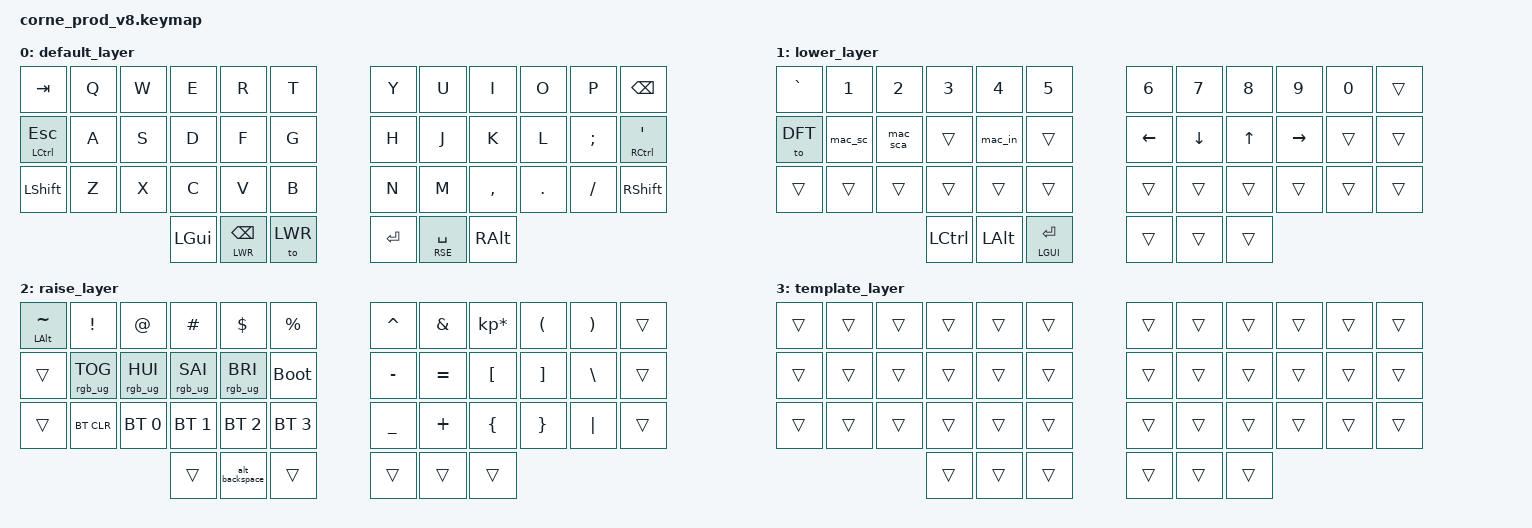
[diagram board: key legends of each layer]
/*
 * Copyright (c) 2020 The ZMK Contributors
 *
 * SPDX-License-Identifier: MIT
 *
 * Reference: https://zmk.dev/docs/keymaps/behaviors/key-press
 *
 */

#include <behaviors.dtsi>
#include <dt-bindings/zmk/keys.h>
#include <dt-bindings/zmk/bt.h>
#include <dt-bindings/zmk/rgb.h>

&led_strip {
    chain-length = <27>;
};

// Define the custom macro
// reference: https://zmk.dev/docs/keymaps/behaviors/macros
/ {
    macros {
        // switch input method
        macos_input: macos_input {
            compatible = "zmk,behavior-macro";
            #binding-cells = <0>;
            bindings
                = <&macro_press &kp LCTRL>
                , <&macro_press &kp LALT>
                , <&macro_tap &kp SPACE>
                , <&macro_release &kp LALT>
                , <&macro_release &kp LCTRL>
                ;
        };
        // alt_backspace ALT_BS
        alt_backspace: alt_backspace {
            compatible = "zmk,behavior-macro";
            #binding-cells = <0>;
            bindings
                = <&macro_press &kp LALT>
                , <&macro_tap &kp BSPC>
                , <&macro_release &kp LALT>
                ;
        };
        // MAC_SC
        macos_screenshot: macos_screenshot {
            compatible = "zmk,behavior-macro";
            #binding-cells = <0>;
            bindings
                = <&macro_press &kp LGUI>
                , <&macro_press &kp LCTRL>
                , <&macro_press &kp LSHFT>
                , <&macro_tap &kp N4>
                , <&macro_release &kp LSHFT>
                , <&macro_release &kp LCTRL>
                , <&macro_release &kp LGUI>
                ;
        };
        // MAC_SA
        macos_screenshot_with_annotation: macos_screenshot_with_annotation {
            compatible = "zmk,behavior-macro";
            #binding-cells = <0>;
            bindings
                = <&macro_press &kp LGUI>
                , <&macro_press &kp LSHFT>
                , <&macro_tap &kp N4>
                , <&macro_release &kp LSHFT>
                , <&macro_release &kp LGUI>
                ;
        };
        ctrl_alt_left: ctrl_alt_left {
            compatible = "zmk,behavior-macro";
            #binding-cells = <0>;
            bindings
                = <&macro_press &kp LCTRL>
                , <&macro_press &kp LALT>
                , <&macro_tap &kp LEFT>
                , <&macro_release &kp LALT>
                , <&macro_release &kp LCTRL>
                ;
        };
        ctrl_alt_right: ctrl_alt_right {
            compatible = "zmk,behavior-macro";
            #binding-cells = <0>;
            bindings
                = <&macro_press &kp LCTRL>
                , <&macro_press &kp LALT>
                , <&macro_tap &kp RIGHT>
                , <&macro_release &kp LALT>
                , <&macro_release &kp LCTRL>
                ;
        };
        ctrl_alt_up: ctrl_alt_up {
            compatible = "zmk,behavior-macro";
            #binding-cells = <0>;
            bindings
                = <&macro_press &kp LCTRL>
                , <&macro_press &kp LALT>
                , <&macro_tap &kp UP>
                , <&macro_release &kp LALT>
                , <&macro_release &kp LCTRL>
                ;
        };
        ctrl_alt_down: ctrl_alt_down {
            compatible = "zmk,behavior-macro";
            #binding-cells = <0>;
            bindings
                = <&macro_press &kp LCTRL>
                , <&macro_press &kp LALT>
                , <&macro_tap &kp DOWN>
                , <&macro_release &kp LALT>
                , <&macro_release &kp LCTRL>
                ;
        };
        ctrl_alt_enter: ctrl_alt_enter {
            compatible = "zmk,behavior-macro";
            #binding-cells = <0>;
            bindings
                = <&macro_press &kp LCTRL>
                , <&macro_press &kp LALT>
                , <&macro_tap &kp RET>
                , <&macro_release &kp LALT>
                , <&macro_release &kp LCTRL>
                ;
        };
        // cmd_grave
        cmd_grave: cmd_grave {
            compatible = "zmk,behavior-macro";
            #binding-cells = <0>;
            bindings
                = <&macro_press &kp LGUI>
                , <&macro_tap &kp GRAVE>
                , <&macro_release &kp LGUI>
                ;
        };
        // cmd_1
        cmd_1: cmd_1 {
            compatible = "zmk,behavior-macro";
            #binding-cells = <0>;
            bindings
                = <&macro_press &kp LGUI>
                , <&macro_tap &kp N1>
                , <&macro_release &kp LGUI>
                ;
        };
        // cmd_2
        cmd_2: cmd_2 {
            compatible = "zmk,behavior-macro";
            #binding-cells = <0>;
            bindings
                = <&macro_press &kp LGUI>
                , <&macro_tap &kp N2>
                , <&macro_release &kp LGUI>
                ;
        };
        // cmd_3
        cmd_3: cmd_3 {
            compatible = "zmk,behavior-macro";
            #binding-cells = <0>;
            bindings
                = <&macro_press &kp LGUI>
                , <&macro_tap &kp N3>
                , <&macro_release &kp LGUI>
                ;
        };
        // cmd_4
        cmd_4: cmd_4 {
            compatible = "zmk,behavior-macro";
            #binding-cells = <0>;
            bindings
                = <&macro_press &kp LGUI>
                , <&macro_tap &kp N4>
                , <&macro_release &kp LGUI>
                ;
        };
        // cmd_5
        cmd_5: cmd_5 {
            compatible = "zmk,behavior-macro";
            #binding-cells = <0>;
            bindings
                = <&macro_press &kp LGUI>
                , <&macro_tap &kp N5>
                , <&macro_release &kp LGUI>
                ;
        };
    };
};

/ {
    aliases {
        // The alias name on the left, referencing the node label on the right
        mac_sc = macos_screenshot;
        mac_sca = macos_screenshot_with_annotation;
        mac_in = macos_input;
    };
};

#define DEFAULT 0
#define DFT 0
#define LWR 1
#define RSE 2

/ {
        keymap {
                compatible = "zmk,keymap";

                default_layer {
// -----------------------------------------------------------------------------------------
// | TAB         |  Q  |  W  |  E   |  R         |  T     | | Y   |  U        |  I     |  O  |  P  | BSPC      |
// | ESC / LCTRL |  A  |  S  |  D   |  F         |  G     | | H   |  J        |  K     |  L  |  ;  | ' / RCTRL |
// | LSHFT       |  Z  |  X  |  C   |  V         |  B     | | N   |  M        |  ,     |  .  |  /  | RSHFT     |
//                           | LGUI | BSPC / LWR | to_LWR | | ENT | SPC / RSE | RALT   |
                        bindings = <
   &kp TAB       &kp Q &kp W    &kp E        &kp R   &kp T   &kp Y         &kp U    &kp I     &kp O   &kp P    &kp BSPC
   &mt LCTRL ESC &kp A &kp S    &kp D        &kp F   &kp G   &kp H         &kp J    &kp K     &kp L   &kp SEMI &mt RCTRL SQT
   &kp LSHFT     &kp Z &kp X    &kp C        &kp V   &kp B   &kp N         &kp M    &kp COMMA &kp DOT &kp FSLH &kp RSHFT
                       &kp LGUI &lt LWR BSPC &to LWR &kp RET &lt RSE SPACE &kp RALT
                        >;
                };
                lower_layer {
// -----------------------------------------------------------------------------------------
// | `      | 1     | 2      |  3    |  4     | 5          | |  6  |  7  | 8  |  9  |  0  |  |
// | to_DFT |mac_sc |mac_sca |       | mac_in |            | | LFT | DWN | UP | RGT |     |  |
// |        |       |        |       |        |            | |     |     |    |     |     |  |
//                           | LCTRL | LALT   | ENT / LGUI | |     |     |    |
                        bindings = <
   &kp GRAVE &kp N1  &kp N2   &kp N3    &kp N4   &kp N5       &kp N6   &kp N7   &kp N8 &kp N9    &kp N0 &trans
   &to DFT   &mac_sc &mac_sca &trans    &mac_in  &trans       &kp LEFT &kp DOWN &kp UP &kp RIGHT &trans &trans
   &trans    &trans  &trans   &trans    &trans   &trans       &trans   &trans   &trans &trans    &trans &trans
                              &kp LCTRL &kp LALT &lt LGUI RET &trans   &trans   &trans
                        >;
                };
                raise_layer {
// -----------------------------------------------------------------------------------------
// | ~ / LALT |   !   |   @   |   #   |   $   |   %   |   |  ^  |  &  |  *  |  (  |  )  | |
// |          |RGB_TOG|RGB_HUI|RGB_SAI|RGB_VAI|QK_BOOT|   |  -  |  =  |  [  |  ]  |  \  | |
// |          | BTCLR | BT0   | BT1   |BT2    | BT3   |   |  _  |  +  |  {  |  }  | "|" | |
//                            |       |ALT_BS |       |   |     |     |     |
                        bindings = <
   &mt LALT TILDE &kp EXCL        &kp AT          &kp HASH        &kp DLLR        &kp PRCNT    &kp CARET &kp AMPS  &kp KP_MULTIPLY &kp LPAR &kp RPAR &trans
   &trans         &rgb_ug RGB_TOG &rgb_ug RGB_HUI &rgb_ug RGB_SAI &rgb_ug RGB_BRI &bootloader  &kp MINUS &kp EQUAL &kp LBKT        &kp RBKT &kp BSLH &trans
   &trans         &bt BT_CLR      &bt BT_SEL 0    &bt BT_SEL 1    &bt BT_SEL 2    &bt BT_SEL 3 &kp UNDER &kp PLUS  &kp LBRC        &kp RBRC &kp PIPE &trans
                                                  &trans          &alt_backspace  &trans       &trans    &trans   &trans
                        >;
                };
                template_layer {
// -----------------------------------------------------------------------------------------
// | | | | | | | | | | | | | |
// | | | | | | | | | | | | | |
// | | | | | | | | | | | | | |
//       | | | | | | | |
                        bindings = <
   &trans &trans &trans &trans &trans &trans &trans &trans &trans &trans &trans &trans
   &trans &trans &trans &trans &trans &trans &trans &trans &trans &trans &trans &trans
   &trans &trans &trans &trans &trans &trans &trans &trans &trans &trans &trans &trans
                        &trans &trans &trans &trans &trans &trans
                        >;
                };
        };
};
